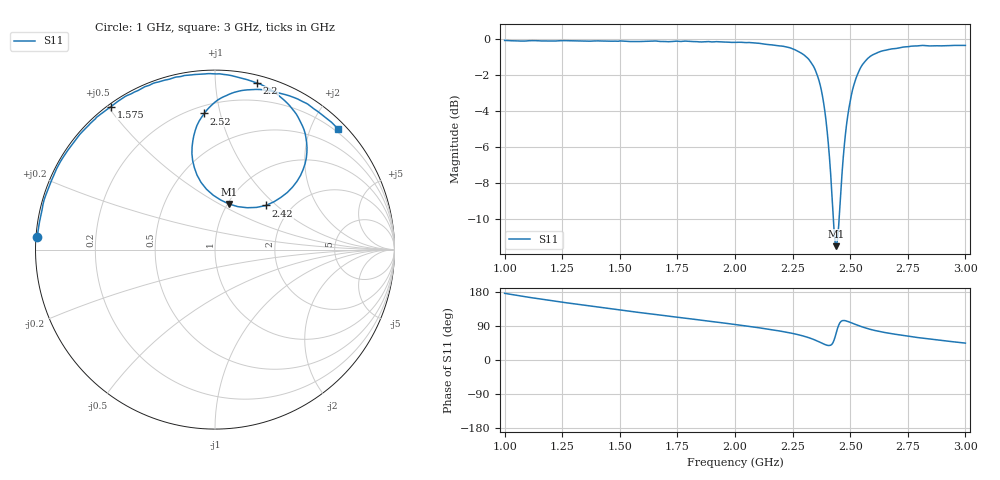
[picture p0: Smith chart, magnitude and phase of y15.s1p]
!  02.03.2026  10:43:13
! Ref Plane: 0,000 mm
# MHZ S MA R  50
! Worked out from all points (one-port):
!   401 points, 1 GHz to 3 GHz, reference 50 ohm
!   lowest |S11| = -11.5 dB at 2.44 GHz (marker M1), VSWR 1.72, Z = 50.7 + j27.8 ohm
!   |S11| at or under -10 dB: 2.427 GHz to 2.452 GHz (25.03 MHz wide, 1.03 % of centre)
!   S11 on the Smith chart (normalised r, x): 1 GHz: 0.00, +0.04; 1.575 GHz: 0.01, +0.51; 2.2 GHz: 0.06, +1.28; 2.42 GHz: 1.50, +0.86; 2.52 GHz: 0.25, +0.89; 3 GHz: 0.14, +2.43
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1000  0.9922 175.9
1130  0.9912 163.3
1250  0.9909 152.5
1500  0.9894 132.0
1575  0.9852 126.1
1750  0.9875 112.8
2000  0.9801 93.7
2100  0.9752 85.4
2200  0.9578 75.9
2250  0.941 70.1
2320  0.8797 58.9
2345  0.8308 53.3
2370  0.7448 46.6
2395  0.5943 39.8
2420  0.3748 41.0
2430  0.2941 52.5
2440  0.2658 73.1
2450  0.3032 91.9
2470  0.4704 104.1
2485  0.5849 102.6
2500  0.6727 99.4
2520  0.7611 94.5
2550  0.844 87.8
2590  0.8991 80.4
2650  0.9309 72.5
2750  0.9535 62.9
2870  0.9593 53.3
3000  0.9614 44.5
